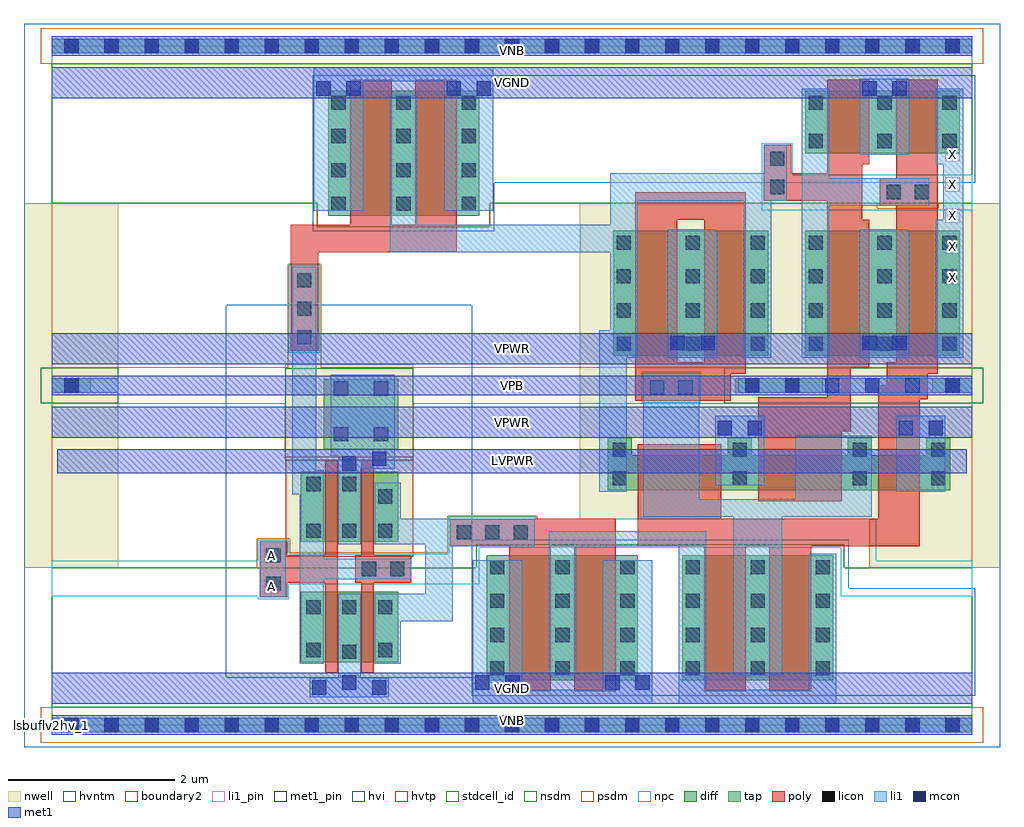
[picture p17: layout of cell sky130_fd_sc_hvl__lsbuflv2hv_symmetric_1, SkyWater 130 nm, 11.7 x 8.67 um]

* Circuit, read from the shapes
.subckt sky130_fd_sc_hvl__lsbuflv2hv_symmetric_1 A LVPWR VGND VNB VPB VPWR X
XM1 VGND A n1 VNB sky130_fd_pr__nfet_01v8 w=0.84 l=0.15
XM2 n2 n1 VGND VNB sky130_fd_pr__nfet_g5v0d10v5 w=1.5 l=0.5 m=2
XM3 n3 n1 VGND VNB sky130_fd_pr__nfet_01v8 w=0.84 l=0.15
XM4 n4 n3 VGND VNB sky130_fd_pr__nfet_g5v0d10v5 w=1.5 l=0.5 m=2
XM5 n5 n6 n4 VNB sky130_fd_pr__nfet_g5v0d10v5 w=1.5 l=0.5 m=2
XM6 VGND n2 n6 VNB sky130_fd_pr__nfet_g5v0d10v5 w=0.75 l=0.5
XM7 X n6 VGND VNB sky130_fd_pr__nfet_g5v0d10v5 w=0.75 l=0.5
XM8 LVPWR A n1 LVPWR sky130_fd_pr__pfet_01v8_hvt w=0.84 l=0.15
XM9 n3 n1 LVPWR LVPWR sky130_fd_pr__pfet_01v8_hvt w=0.84 l=0.15
XM10 VPWR n5 n2 VPB sky130_fd_pr__pfet_g5v0d10v5 w=1.5 l=0.5 m=2
XM11 VPWR n6 n2 VPB sky130_fd_pr__pfet_g5v0d10v5 w=0.42 l=1
XM12 n5 n2 VPWR VPB sky130_fd_pr__pfet_g5v0d10v5 w=0.42 l=1
XM13 VPWR n2 n6 VPB sky130_fd_pr__pfet_g5v0d10v5 w=1.5 l=0.5
XM14 VPWR n6 n5 VPB sky130_fd_pr__pfet_g5v0d10v5 w=0.42 l=0.5
XM15 X n6 VPWR VPB sky130_fd_pr__pfet_g5v0d10v5 w=1.5 l=0.5
.ends

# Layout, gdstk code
import gdstk
lib = gdstk.Library(unit=1e-6, precision=1e-09)
def R(c, l, rs):  # rectangles x0, y0, x1, y1
    for r in rs: c.add(gdstk.rectangle(r[:2], r[2:], *l))
def A(c, l, x, y, w, h, nx, ny, dx, dy):  # array of equal rectangles
    R(c, l, [(x+i*dx, y+j*dy, x+i*dx+w, y+j*dy+h) for i in range(nx) for j in range(ny)])
def P(c, l, *ps):  # polygons
    for p in ps: c.add(gdstk.Polygon(p, *l))
nwell = (64, 20)
diff = (65, 20)
tap = (65, 44)
poly = (66, 20)
licon = (66, 44)
li1_pin = (67, 16)
li1 = (67, 20)
mcon = (67, 44)
met1_pin = (68, 16)
met1 = (68, 20)
hvi = (75, 20)
hvtp = (78, 44)
stdcell_id = (81, 4)
nsdm = (93, 44)
psdm = (94, 20)
npc = (95, 20)
hvntm = (125, 20)
boundary2 = (236, 0)

sky130_fd_sc_hvl__lsbufl = lib.new_cell('sky130_fd_sc_hvl__lsbuflv2hv_symmetric_1')
R(sky130_fd_sc_hvl__lsbufl, nwell, [(-0.33,1.885,0.8,6.255), (2.8,2.015,4.335,4.325)])
P(sky130_fd_sc_hvl__lsbufl, nwell, [(11.37,6.255),(6.335,6.255),(6.335,2.465),(9.8,2.465),(9.8,1.885),(11.37,1.885)])
R(sky130_fd_sc_hvl__lsbufl, diff, [(5.22,0.535,7.03,2.035), (7.56,0.535,9.37,2.035), (2.985,0.755,4.155,1.595), (2.985,2.195,4.155,3.035), (6.735,4.425,8.59,5.925), (9.035,4.425,10.89,5.925), (3.315,6.105,5.125,7.605), (9.035,6.855,10.89,7.605)])
P(sky130_fd_sc_hvl__lsbufl, diff, [(10.775,3.445),(10.485,3.445),(10.485,3.235),(9.835,3.235),(9.835,3.445),(9.545,3.445),(9.545,3.235),(8.395,3.235),(8.395,3.445),(8.105,3.445),(8.105,3.235),(6.955,3.235),(6.955,3.445),(6.665,3.445),(6.665,2.815),(10.775,2.815)])
R(sky130_fd_sc_hvl__lsbufl, tap, [(0,-0.085,11.04,0.085), (3.265,3.305,4.155,4.145), (0,3.985,0.47,4.155), (8.195,3.985,9.245,4.155), (10.56,3.985,11.04,4.155), (0,8.055,11.04,8.225)])
P(sky130_fd_sc_hvl__lsbufl, poly, [(3.43,3.165),(3.28,3.165),(3.28,2.035),(2.825,2.035),(2.825,2.2),(2.495,2.2),(2.495,1.53),(2.825,1.53),(2.825,1.705),(3.28,1.705),(3.28,0.625),(3.43,0.625)],
  [(4.31,2.035),(3.86,2.035),(3.86,3.165),(3.71,3.165),(3.71,2.035),(3.64,2.035),(3.64,1.705),(3.71,1.705),(3.71,0.625),(3.86,0.625),(3.86,1.705),(4.31,1.705)],
  [(4.86,7.735),(4.36,7.735),(4.36,5.995),(4.08,5.995),(4.08,7.735),(3.58,7.735),(3.58,5.995),(2.865,5.995),(2.865,4.485),(3.195,4.485),(3.195,5.665),(4.86,5.665)],
  [(10.625,7.735),(10.125,7.735),(10.125,6.555),(9.93,6.555),(9.93,6.225),(10.125,6.225),(10.125,4.35),(10.01,4.35),(10.01,4.075),(9.91,4.075),(9.91,2.475),(8.03,2.475),(8.03,3.365),(7.03,3.365),(7.03,2.145),(7.825,2.145),(7.825,0.405),(8.325,0.405),(8.325,2.145),(8.605,2.145),(8.605,0.405),(9.105,0.405),(9.105,2.145),(10.41,2.145),(10.41,3.905),(10.505,3.905),(10.505,4.21),(10.625,4.21)],
  [(9.8,6.055),(9.72,6.055),(9.72,6.725),(9.8,6.725),(9.8,7.735),(9.3,7.735),(9.3,6.615),(8.865,6.615),(8.865,6.955),(8.535,6.955),(8.535,6.285),(9.3,6.285),(9.3,3.93),(8.47,3.93),(8.47,2.685),(9.47,2.685),(9.47,3.52),(9.58,3.52),(9.58,4.285),(9.8,4.285)],
  [(6.765,2.475),(4.78,2.475),(4.78,2.145),(5.485,2.145),(5.485,0.405),(5.985,0.405),(5.985,2.145),(6.265,2.145),(6.265,0.405),(6.765,0.405)],
  [(8.325,6.385),(7.825,6.385),(7.825,4.35),(7.5,4.35),(7.5,6.055),(7.825,6.055),(7.825,6.385),(7,6.385),(7,3.885),(8.14,3.885),(8.14,4.21),(8.325,4.21)])
A(sky130_fd_sc_hvl__lsbufl, licon, 0.155, -0.085, 0.17, 0.17, 23, 2, 0.48, 8.14)
A(sky130_fd_sc_hvl__lsbufl, licon, 5.26, 0.595, 0.17, 0.17, 6, 2, 0.78, 0.4)
A(sky130_fd_sc_hvl__lsbufl, licon, 3.055, 1.325, 0.17, 0.17, 3, 2, 0.43, 0.92)
A(sky130_fd_sc_hvl__lsbufl, licon, 5.26, 1.405, 0.17, 0.17, 6, 2, 0.78, 0.4)
A(sky130_fd_sc_hvl__lsbufl, licon, 4.86, 2.225, 0.17, 0.17, 3, 1, 0.34, 0)
A(sky130_fd_sc_hvl__lsbufl, licon, 6.725, 2.875, 0.17, 0.17, 3, 2, 1.44, 0.34)
A(sky130_fd_sc_hvl__lsbufl, licon, 2.945, 4.565, 0.17, 0.17, 1, 3, 0, 0.34)
A(sky130_fd_sc_hvl__lsbufl, licon, 3.355, 6.165, 0.17, 0.17, 3, 2, 0.78, 0.4)
A(sky130_fd_sc_hvl__lsbufl, licon, 3.355, 6.975, 0.17, 0.17, 3, 2, 0.78, 0.4)
R(sky130_fd_sc_hvl__lsbufl, licon, [(3.485,0.795,3.655,0.965), (3.055,0.815,3.225,0.985), (3.915,0.815,4.085,0.985), (2.575,1.61,2.745,1.78), (3.72,1.785,3.89,1.955), (4.06,1.785,4.23,1.955), (2.575,1.95,2.745,2.12), (3.915,2.655,4.085,2.825), (3.055,2.805,3.225,2.975), (3.485,2.805,3.655,2.975), (10.545,2.875,10.715,3.045), (10.545,3.215,10.715,3.385), (3.385,3.4,3.555,3.57), (3.865,3.4,4.035,3.57), (3.385,3.95,3.555,4.12), (3.865,3.95,4.035,4.12), (7.175,3.965,7.345,4.135), (7.515,3.965,7.685,4.135), (0.155,3.985,0.325,4.155), (8.315,3.985,8.485,4.155), (8.795,3.985,8.965,4.155), (10.715,3.985,10.885,4.155), (6.775,4.485,6.945,4.655), (7.6,4.485,7.77,4.655), (8.38,4.485,8.55,4.655), (9.075,4.485,9.245,4.655), (9.9,4.485,10.07,4.655), (10.68,4.485,10.85,4.655), (6.775,4.885,6.945,5.055), (7.6,4.885,7.77,5.055), (8.38,4.885,8.55,5.055), (9.075,4.885,9.245,5.055), (9.9,4.885,10.07,5.055), (10.68,4.885,10.85,5.055), (6.775,5.295,6.945,5.465), (7.6,5.295,7.77,5.465), (8.38,5.295,8.55,5.465), (9.075,5.295,9.245,5.465), (9.9,5.295,10.07,5.465), (10.68,5.295,10.85,5.465), (6.775,5.695,6.945,5.865), (7.6,5.695,7.77,5.865), (8.38,5.695,8.55,5.865), (9.075,5.695,9.245,5.865), (9.9,5.695,10.07,5.865), (10.68,5.695,10.85,5.865), (10.01,6.305,10.18,6.475), (10.35,6.305,10.52,6.475), (8.615,6.365,8.785,6.535), (8.615,6.705,8.785,6.875), (9.075,6.915,9.245,7.085), (9.9,6.915,10.07,7.085), (10.68,6.915,10.85,7.085), (9.075,7.375,9.245,7.545), (9.9,7.375,10.07,7.545), (10.68,7.375,10.85,7.545)])
A(sky130_fd_sc_hvl__lsbufl, li1_pin, 10.715, 5.28, 0.17, 0.17, 1, 5, 0, 0.37)
R(sky130_fd_sc_hvl__lsbufl, li1_pin, [(2.555,1.58,2.725,1.75), (2.555,1.95,2.725,2.12)])
R(sky130_fd_sc_hvl__lsbufl, li1, [(0,-0.085,11.04,0.085), (2.495,1.53,2.805,2.2), (10.125,2.795,10.715,3.705), (7.955,2.875,8.545,3.705), (0,3.985,0.8,4.155), (8.235,3.985,11.04,4.155), (7.39,4.405,7.98,5.945), (9.69,4.405,10.28,5.945), (9.69,6.835,10.28,7.745), (0,8.055,11.04,8.225)])
P(sky130_fd_sc_hvl__lsbufl, li1, [(10.52,6.555),(9.325,6.555),(9.325,7.625),(8.995,7.625),(8.995,4.405),(9.325,4.405),(9.325,6.225),(10.52,6.225)],
  [(9.835,3.465),(8.915,3.465),(8.915,2.705),(7.765,2.705),(7.765,4.215),(7.095,4.215),(7.095,2.495),(8.17,2.495),(8.17,0.595),(8.76,0.595),(8.76,2.495),(9.835,2.495)],
  [(9.41,2.055),(9.08,2.055),(9.08,0.425),(7.85,0.425),(7.85,2.325),(5.96,2.325),(5.96,0.595),(6.29,0.595),(6.29,2.145),(7.52,2.145),(7.52,0.255),(9.41,0.255)],
  [(4.045,0.565),(3.705,0.565),(3.705,1.575),(3.435,1.575),(3.435,0.565),(3.095,0.565),(3.095,0.335),(4.045,0.335)],
  [(4.115,4.2),(3.345,4.2),(3.345,3.225),(3.435,3.225),(3.435,2.165),(3.705,2.165),(3.705,3.075),(4.115,3.075)],
  [(4.31,1.995),(3.265,1.995),(3.265,3.055),(3.175,3.055),(3.175,5.495),(2.885,5.495),(2.885,2.765),(2.975,2.765),(2.975,0.735),(3.265,0.735),(3.265,1.745),(4.31,1.745)],
  [(5.295,7.885),(3.145,7.885),(3.145,6.165),(3.735,6.165),(3.735,7.715),(4.705,7.715),(4.705,6.165),(5.295,6.165)],
  [(5.79,2.475),(4.185,2.475),(4.185,2.905),(3.875,2.905),(3.875,2.165),(4.48,2.165),(4.48,1.575),(3.875,1.575),(3.875,0.735),(4.185,0.735),(4.185,1.245),(4.81,1.245),(4.81,2.145),(5.79,2.145)],
  [(7.2,1.975),(6.61,1.975),(6.61,0.425),(5.64,0.425),(5.64,1.975),(5.05,1.975),(5.05,0.255),(7.2,0.255)],
  [(8.815,6.955),(8.535,6.955),(8.535,6.615),(6.695,6.615),(6.695,5.995),(4.385,5.995),(4.385,7.545),(4.055,7.545),(4.055,5.665),(6.695,5.665),(6.695,4.735),(6.565,4.735),(6.565,2.795),(6.895,2.795),(6.895,4.405),(7.025,4.405),(7.025,6.285),(8.3,6.285),(8.3,4.405),(8.63,4.405),(8.63,6.285),(8.815,6.285)],
  [(10.93,7.625),(10.6,7.625),(10.6,6.725),(10.69,6.725),(10.69,6.055),(10.6,6.055),(10.6,4.405),(10.93,4.405)])
A(sky130_fd_sc_hvl__lsbufl, mcon, 0.155, -0.085, 0.17, 0.17, 23, 2, 0.48, 8.14)
A(sky130_fd_sc_hvl__lsbufl, mcon, 8.315, 3.985, 0.17, 0.17, 6, 1, 0.48, 0)
R(sky130_fd_sc_hvl__lsbufl, mcon, [(3.125,0.365,3.295,0.535), (3.845,0.365,4.015,0.535), (3.485,0.425,3.655,0.595), (5.08,0.425,5.25,0.595), (5.44,0.425,5.61,0.595), (6.64,0.425,6.81,0.595), (7,0.425,7.17,0.595), (3.485,3.05,3.655,3.22), (3.845,3.105,4.015,3.275), (7.985,3.475,8.155,3.645), (8.345,3.475,8.515,3.645), (10.155,3.475,10.325,3.645), (10.515,3.475,10.685,3.645), (0.155,3.985,0.325,4.155), (7.42,4.495,7.59,4.665), (7.78,4.495,7.95,4.665), (9.72,4.495,9.89,4.665), (10.08,4.495,10.25,4.665), (3.175,7.545,3.345,7.715), (3.535,7.545,3.705,7.715), (4.735,7.545,4.905,7.715), (5.095,7.545,5.265,7.715), (9.72,7.545,9.89,7.715), (10.08,7.545,10.25,7.715)])
R(sky130_fd_sc_hvl__lsbufl, met1_pin, [(0,0,11.04,0.115), (0,0.255,11.04,0.625), (0.07,3.02,10.97,3.305), (0,3.445,11.04,3.815), (0,3.955,11.04,4.185), (0,4.325,11.04,4.695), (0,7.515,11.04,7.885), (0,8.025,11.04,8.14)])
A(sky130_fd_sc_hvl__lsbufl, met1, 0, -0.115, 11.04, 0.23, 1, 3, 0, 4.07)
R(sky130_fd_sc_hvl__lsbufl, met1, [(0,0.255,11.04,0.625), (0.07,3.02,10.97,3.305), (0,3.445,11.04,3.815), (0,4.325,11.04,4.695), (0,7.515,11.04,7.885)])
P(sky130_fd_sc_hvl__lsbufl, hvi, [(11.37,8.405),(5.035,8.405),(5.035,0.575),(2.095,0.575),(2.095,5.035),(5.035,5.035),(5.035,8.405),(-0.33,8.405),(-0.33,-0.265),(11.37,-0.265)])
R(sky130_fd_sc_hvl__lsbufl, hvtp, [(2.805,2.015,4.335,3.215)])
R(sky130_fd_sc_hvl__lsbufl, stdcell_id, [(0,0,11.04,8.14)])
R(sky130_fd_sc_hvl__lsbufl, nsdm, [(2.8,3.175,4.335,4.275), (-0.13,3.855,0.8,4.285), (8.065,3.855,11.17,4.285)])
P(sky130_fd_sc_hvl__lsbufl, nsdm, [(11.04,1.885),(9.5,1.885),(9.5,2.165),(5.09,2.165),(5.09,1.885),(0,1.885),(0,0.215),(11.04,0.215)],
  [(11.04,7.925),(0,7.925),(0,6.255),(3.185,6.255),(3.185,5.975),(5.255,5.975),(5.255,6.255),(11.04,6.255)])
R(sky130_fd_sc_hvl__lsbufl, psdm, [(-0.13,-0.215,11.17,0.215), (-0.13,7.925,11.17,8.355)])
P(sky130_fd_sc_hvl__lsbufl, psdm, [(11.04,6.255),(10.63,6.255),(10.63,6.195),(9.9,6.195),(9.9,6.255),(5.255,6.255),(5.255,5.975),(3.185,5.975),(3.185,6.255),(0,6.255),(0,4.285),(2.835,4.285),(2.835,5.525),(3.225,5.525),(3.225,4.285),(11.04,4.285)],
  [(11.04,3.855),(4.335,3.855),(4.335,3.175),(2.8,3.175),(2.8,3.855),(0,3.855),(0,1.885),(2.465,1.885),(2.465,2.23),(2.855,2.23),(2.855,2.065),(4.75,2.065),(4.75,2.505),(5.82,2.505),(5.82,2.465),(9.8,2.465),(9.8,1.885),(11.04,1.885)])
R(sky130_fd_sc_hvl__lsbufl, npc, [(7.075,3.865,7.785,4.235), (2.845,4.465,3.215,5.515)])
P(sky130_fd_sc_hvl__lsbufl, npc, [(11.04,1.97),(9.885,1.97),(9.885,2.47),(5.81,2.47),(5.81,2.495),(4.76,2.495),(4.76,2.055),(2.845,2.055),(2.845,2.22),(2.475,2.22),(2.475,1.97),(0,1.97),(0,1.545),(2.475,1.545),(2.475,1.51),(2.845,1.51),(2.845,1.685),(5.13,1.685),(5.13,2.125),(9.46,2.125),(9.46,1.545),(11.04,1.545)],
  [(11.04,6.595),(8.885,6.595),(8.885,6.975),(8.515,6.975),(8.515,6.17),(11.04,6.17)])
P(sky130_fd_sc_hvl__lsbufl, hvntm, [(11.075,1.64),(9.555,1.64),(9.555,2.22),(5.035,2.22),(5.035,0.35),(11.075,0.35)],
  [(11.075,7.79),(3.13,7.79),(3.13,5.92),(5.31,5.92),(5.31,6.5),(11.075,6.5)])
R(sky130_fd_sc_hvl__lsbufl, boundary2, [(0,0,11.04,8.14)])
sky130_fd_sc_hvl__lsbufl.add(gdstk.Label('lsbuflv2hv_1', (0,0), layer=83, texttype=44))
sky130_fd_sc_hvl__lsbufl.add(gdstk.Label('A', (2.64,2.035), layer=67, texttype=5))
sky130_fd_sc_hvl__lsbufl.add(gdstk.Label('A', (2.64,1.665), layer=67, texttype=5))
sky130_fd_sc_hvl__lsbufl.add(gdstk.Label('X', (10.8,6.105), layer=67, texttype=5))
sky130_fd_sc_hvl__lsbufl.add(gdstk.Label('X', (10.8,5.735), layer=67, texttype=5))
sky130_fd_sc_hvl__lsbufl.add(gdstk.Label('X', (10.8,5.365), layer=67, texttype=5))
sky130_fd_sc_hvl__lsbufl.add(gdstk.Label('X', (10.8,6.475), layer=67, texttype=5))
sky130_fd_sc_hvl__lsbufl.add(gdstk.Label('X', (10.8,6.845), layer=67, texttype=5))
sky130_fd_sc_hvl__lsbufl.add(gdstk.Label('VPWR', (5.52,3.63), layer=68, texttype=5))
sky130_fd_sc_hvl__lsbufl.add(gdstk.Label('VPWR', (5.52,4.51), layer=68, texttype=5))
sky130_fd_sc_hvl__lsbufl.add(gdstk.Label('LVPWR', (5.52,3.165), layer=68, texttype=5))
sky130_fd_sc_hvl__lsbufl.add(gdstk.Label('VNB', (5.52,8.08), layer=68, texttype=5))
sky130_fd_sc_hvl__lsbufl.add(gdstk.Label('VNB', (5.52,0.06), layer=68, texttype=5))
sky130_fd_sc_hvl__lsbufl.add(gdstk.Label('VGND', (5.52,7.7), layer=68, texttype=5))
sky130_fd_sc_hvl__lsbufl.add(gdstk.Label('VGND', (5.52,0.44), layer=68, texttype=5))
sky130_fd_sc_hvl__lsbufl.add(gdstk.Label('VPB', (5.52,4.07), layer=68, texttype=5))

lib.write_gds('sky130_fd_sc_hvl__lsbuflv2hv_symmetric_1.gds')
